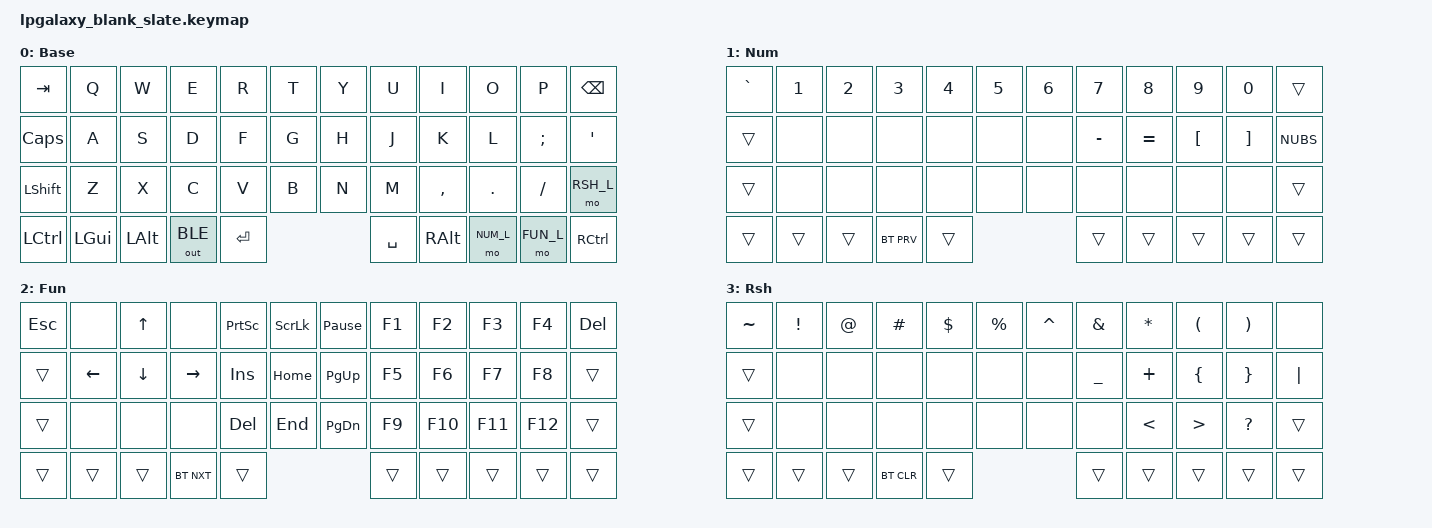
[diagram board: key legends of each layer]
/*
 * Copyright (c) 2022 Pete Johanson
 *
 * SPDX-License-Identifier: MIT
 */

#include <behaviors.dtsi>
#include <dt-bindings/zmk/keys.h>
#include <dt-bindings/zmk/bt.h>
#include <dt-bindings/zmk/outputs.h>
#include <dt-bindings/zmk/ext_power.h>

#define QWERTY_BASE 1

// #define TBLE_ORTHO   1
// #define TBLE_MIT     1
#define TBLE_DUAL_2U 1

#define NUM_L 1
#define FUN_L 2
#define RSH_L 3

// Using layer taps on thumbs, having quick tap as well helps w/ repeating space/backspace
&lt { quick_tap_ms = <200>; };

#define BT(n) BT_SEL n

/ {
    chosen {
       zmk,physical-layout =
#ifdef TBLE_DUAL_2U
                       &layout_ortho_4x12_2x2u;
#elif defined(TBLE_MIT)
                       &layout_ortho_4x12_1x2u;
#else
                       &layout_ortho_4x12_all1u;
#endif
    };

    macros {
      ZMK_MACRO(thumbs_up,
		wait-ms = <1>;
		tap-ms = <5>;
                bindings = <&kp PLUS &kp COLON &kp PLUS &kp N1 &kp COLON &kp RET>;
		)
    };
    
    tap_dances {
    	shifty: shift_caps_word {
		compatible = "zmk,behavior-tap-dance";
		label = "TD_SHIFTY";
		#binding-cells = <0>;
		tapping-term-ms = <150>;
		bindings = <&kp LSHFT>, <&caps_word>;
	};
    };

    keymap {
        compatible = "zmk,keymap";

        base_layer {
            label = "Base";
            bindings = <
#ifdef QWERTY_BASE
 &kp TAB    &kp Q      &kp W      &kp E       &kp R          &kp T          &kp Y            &kp U          &kp I       &kp O      &kp P         &kp BKSP
 &kp CAPS    &kp A      &kp S      &kp D       &kp F          &kp G          &kp H            &kp J          &kp K       &kp L      &kp SEMI      &kp QUOT
 &kp LSHFT  &kp Z      &kp X      &kp C       &kp V          &kp B          &kp N            &kp M          &kp COMMA   &kp DOT    &kp FSLH      &mo RSH_L
#else
 &kp TAB    &kp Q      &kp W      &kp F       &kp P          &kp B          &kp J            &kp L          &kp U       &kp Y      &kp QUOT      &kp BKSP
 &kp CAPS    &kp A      &kp R      &kp S       &kp T          &kp G          &kp M            &kp N          &kp E       &kp I      &kp O         &kp QUOT
 &kp LSHFT  &kp Z      &kp X      &kp C       &kp D          &kp V          &kp K            &kp H          &kp COMMA   &kp DOT    &kp SEMI      &kp RET
#endif
#ifdef TBLE_DUAL_2U
 &kp LCTRL  &kp LGUI   &kp LALT   &out OUT_BLE         &kp ENTER                        &kp SPACE                &kp RALT   &mo NUM_L   &mo FUN_L      &kp RCTRL
#elif defined(TBLE_MIT)
 &kp LCTRL  &mo RSH_L   &kp LGUI  &kp LALT    &mo NUM_L          &kp SPACE                   &mo FUN_L      &kp LEFT    &kp UP     &kp DOWN      &kp RIGHT
#else
 &kp LCTRL  &mo RSH_L   &kp LGUI  &kp LALT    &mo NUM_L      &kp SPACE      &kp RET          &mo FUN_L      &kp LEFT    &kp UP     &kp DOWN      &kp RIGHT
#endif
            >;
        };

        num_layer {
            label = "Num";
            bindings = <
&kp GRAVE  &kp N1  &kp N2  &kp N3  &kp N4  &kp N5  &kp N6  &kp N7     &kp N8     &kp N9    &kp N0    &trans
&trans     &none   &none   &none   &none   &none   &none   &kp MINUS  &kp EQUAL  &kp LBKT  &kp RBKT  &kp NUBS
&trans     &none   &none   &none   &none   &none   &none   &none      &none      &none     &none     &trans
#ifdef TBLE_DUAL_2U
&trans  &trans        &trans     &bt BT_PRV              &trans                    &trans       &trans         &trans &trans &trans
#elif defined(TBLE_MIT)
&trans  &trans        &trans     &trans      &trans                &trans             &trans      &trans   &trans &trans &trans
#else
&trans  &trans        &trans     &trans      &trans          &trans       &trans    &trans  &trans         &trans &trans &trans
#endif
            >;
        };

        fun_layer {
            label = "Fun";
            bindings = <
&kp ESC  &none     &kp UP    &none      &kp PSCRN  &kp SLCK  &kp PAUSE_BREAK  &kp F1  &kp F2   &kp F3   &kp F4   &kp DEL
&trans   &kp LEFT  &kp DOWN  &kp RIGHT  &kp INS    &kp HOME  &kp PG_UP        &kp F5  &kp F6   &kp F7   &kp F8   &trans
&trans   &none     &none     &none      &kp DEL    &kp END   &kp PG_DN        &kp F9  &kp F10  &kp F11  &kp F12  &trans
#ifdef TBLE_DUAL_2U
&trans  &trans       &trans     &bt BT_NXT              &trans                 &trans            &trans         &trans &trans &trans
#elif defined(TBLE_MIT)
&trans  &trans       &trans     &trans      &trans           &trans            &trans        &trans      &trans &trans &trans
#else
&trans  &trans       &trans     &trans      &trans    &trans         &trans     &trans        &trans      &trans &trans &trans
#endif
            >;
        };

        rsh_layer {
            label = "Rsh";
            bindings = <
&kp TILDE  &kp EXCL  &kp AT  &kp HASH  &kp DLLR  &kp PRCNT  &kp CARET  &kp AMPS   &kp STAR  &kp LPAR  &kp RPAR   &none
&trans     &none     &none   &none     &none     &none      &none      &kp UNDER  &kp PLUS  &kp LBRC  &kp RBRC   &kp PIPE
&trans     &none     &none   &none     &none     &none      &none      &none      &kp LT    &kp GT    &kp QMARK  &trans
#ifdef TBLE_DUAL_2U
&trans &trans        &trans     &bt BT_CLR                &trans                    &trans       &trans         &trans &trans &trans
#elif defined(TBLE_MIT)
&trans &trans        &trans     &trans        &trans                &trans             &trans      &trans   &trans &trans &trans
#else
&trans &trans        &trans     &trans        &trans          &trans       &trans    &trans  &trans         &trans &trans &trans
#endif
            >;
        };

	
    };
};
